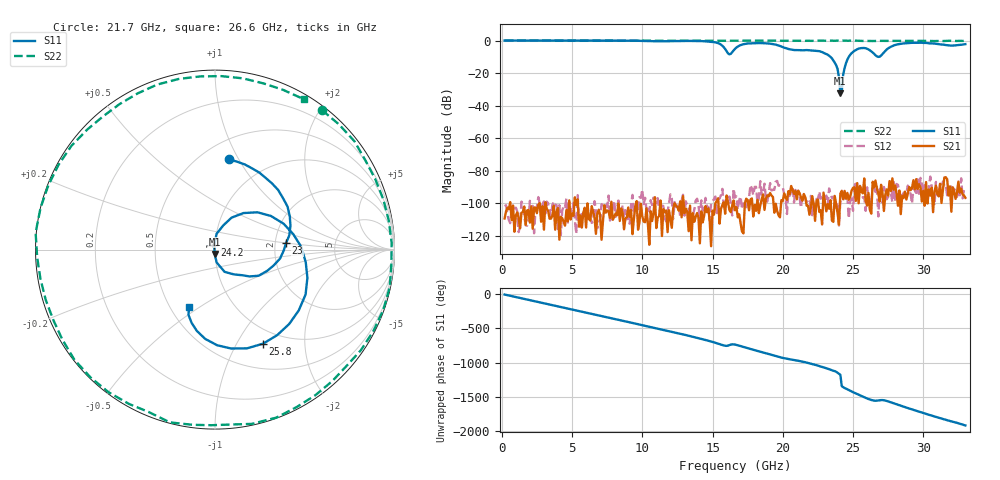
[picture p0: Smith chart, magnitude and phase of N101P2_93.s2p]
# GHZ S RI R 50
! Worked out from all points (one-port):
!   329 points, 200 MHz to 33 GHz, reference 50 ohm
!   lowest |S11| = -32.5 dB at 24.1 GHz (marker M1), VSWR 1.05, Z = 49.7 - j2.35 ohm
!   |S11| at or under -10 dB: 23.39 GHz to 24.7 GHz (1.314 GHz wide, 5.47 % of centre); 26.77717 GHz to 26.85042 GHz (73.26 MHz wide, 0.273 % of centre)
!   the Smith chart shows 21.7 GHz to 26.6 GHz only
!   S11 on the Smith chart (normalised r, x): 21.7 GHz: 0.67, +0.91; 23 GHz: 2.30, +0.20; 24.2 GHz: 0.99, +0.06; 25.8 GHz: 0.81, -1.29; 26.6 GHz: 0.62, -0.46
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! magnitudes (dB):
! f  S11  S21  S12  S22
! 200 MHz  0.0  -109.3  -101.7  0.0
! 5.7 GHz  0.0  -114.9  -104.8  -0.1
! 11.2 GHz  -0.5  -107.9  -103.5  -0.2
! 15.2 GHz  -1.1  -100.0  -95.8  -0.1
! 16.2 GHz  -8.5  -104.1  -95.8  -0.2
! 16.6 GHz  -5.1  -104.3  -96.5  -0.2
! 18.5 GHz  -1.6  -97.5  -94.7  -0.1
! 21.7 GHz  -5.9  -101.5  -99.2  -0.2
! 22.1 GHz  -6.1  -95.6  -107.4  -0.2
! 23 GHz  -8.0  -99.4  -101.1  -0.2
! 23.5 GHz  -10.9  -110.7  -96.8  -0.1
! 23.9 GHz  -17.4  -105.9  -99.3  0.0
! 24.1 GHz  -32.5  -94.1  -98.9  -0.1
! 24.2 GHz  -31.0  -92.3  -98.1  -0.1
! 24.3 GHz  -21.1  -97.5  -98.8  -0.1
! 24.7 GHz  -10.0  -97.9  -109.3  -0.1
! 25.8 GHz  -4.6  -84.8  -96.1  -0.3
! 26.6 GHz  -9.1  -86.1  -93.1  -0.2
! 26.9 GHz  -9.9  -98.9  -91.8  -0.2
! 27.6 GHz  -4.3  -86.3  -93.9  -0.3
! 29.1 GHz  -1.4  -92.0  -94.4  -0.2
! 33 GHz  -2.2  -96.6  -91.5  -0.3
